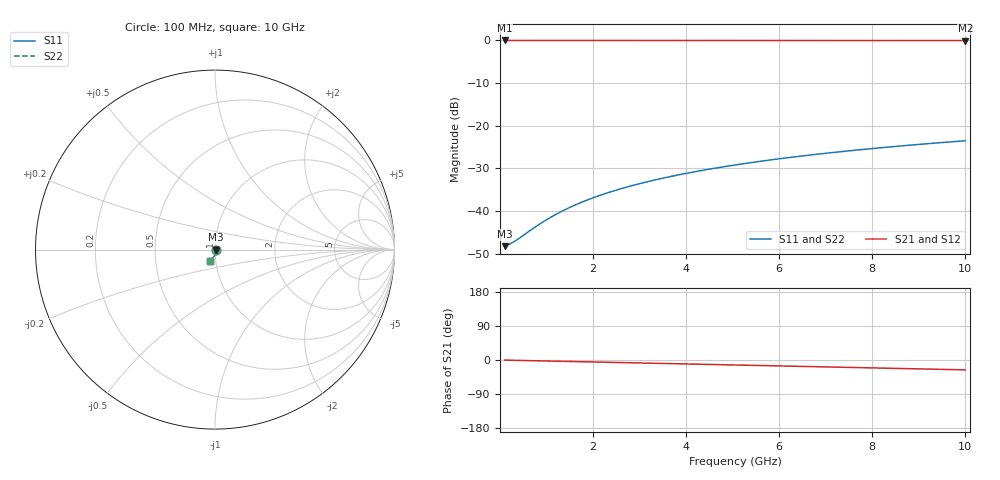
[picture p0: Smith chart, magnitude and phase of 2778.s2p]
# Hz S RI R 50.00
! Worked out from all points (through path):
!   100 points, 100 MHz to 10 GHz, reference 50 ohm
!   highest |S21| = -0.03 dB at 100 MHz (marker M1); lowest = -0.1 dB at 10 GHz (marker M2)
!   group delay of S21, straight-line fit = 7.23 ps
!   lowest |S11| = -48.2 dB at 100 MHz (marker M3), VSWR 1.01, Z = 50.4 - j0.0709 ohm
!   |S11| at or under -10 dB: start of sweep to end of sweep
!   |S22| runs from -48.2 to -23.5 dB; largest |S21 - S12| = 0
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1e8  0.00381 -0.000703  0.9962 -0.00453  0.9962 -0.00453  0.00381 -0.000703
2e8  0.00382 -0.00141  0.9961 -0.00906  0.9961 -0.00906  0.00382 -0.00141
3e8  0.00382 -0.00211  0.996 -0.0136  0.996 -0.0136  0.00382 -0.00211
4e8  0.00381 -0.00281  0.9959 -0.0181  0.9959 -0.0181  0.00381 -0.00281
8e8  0.00369 -0.00562  0.9954 -0.0362  0.9954 -0.0362  0.00369 -0.00562
1.1e9  0.00353 -0.00773  0.9948 -0.0498  0.9948 -0.0498  0.00353 -0.00773
1.4e9  0.00331 -0.00983  0.9939 -0.0633  0.9939 -0.0633  0.00331 -0.00983
1.6e9  0.00313 -0.0112  0.9933 -0.0724  0.9933 -0.0724  0.00313 -0.0112
1.8e9  0.00292 -0.0126  0.9926 -0.0814  0.9926 -0.0814  0.00292 -0.0126
2.1e9  0.00256 -0.0147  0.9913 -0.0949  0.9913 -0.0949  0.00256 -0.0147
2.5e9  0.00199 -0.0175  0.9893 -0.1129  0.9893 -0.1129  0.00199 -0.0175
2.9e9  0.00133 -0.0202  0.987 -0.1309  0.987 -0.1309  0.00133 -0.0202
3.4e9  0.000353 -0.0236  0.9837 -0.1533  0.9837 -0.1533  0.000353 -0.0236
3.8e9  -0.000536 -0.0262  0.9806 -0.1711  0.9806 -0.1711  -0.000536 -0.0262
4.2e9  -0.00152 -0.0289  0.9773 -0.1889  0.9773 -0.1889  -0.00152 -0.0289
4.6e9  -0.0026 -0.0315  0.9736 -0.2066  0.9736 -0.2066  -0.0026 -0.0315
5.1e9  -0.00408 -0.0347  0.9685 -0.2286  0.9685 -0.2286  -0.00408 -0.0347
5.9e9  -0.00675 -0.0397  0.9593 -0.2636  0.9593 -0.2636  -0.00675 -0.0397
6.7e9  -0.00976 -0.0444  0.9488 -0.2983  0.9488 -0.2983  -0.00976 -0.0444
7.5e9  -0.0131 -0.049  0.937 -0.3324  0.937 -0.3324  -0.0131 -0.049
8.4e9  -0.0173 -0.0538  0.9223 -0.3703  0.9223 -0.3703  -0.0173 -0.0538
1e10  -0.0255 -0.0614  0.8923 -0.436  0.8923 -0.436  -0.0255 -0.0614
